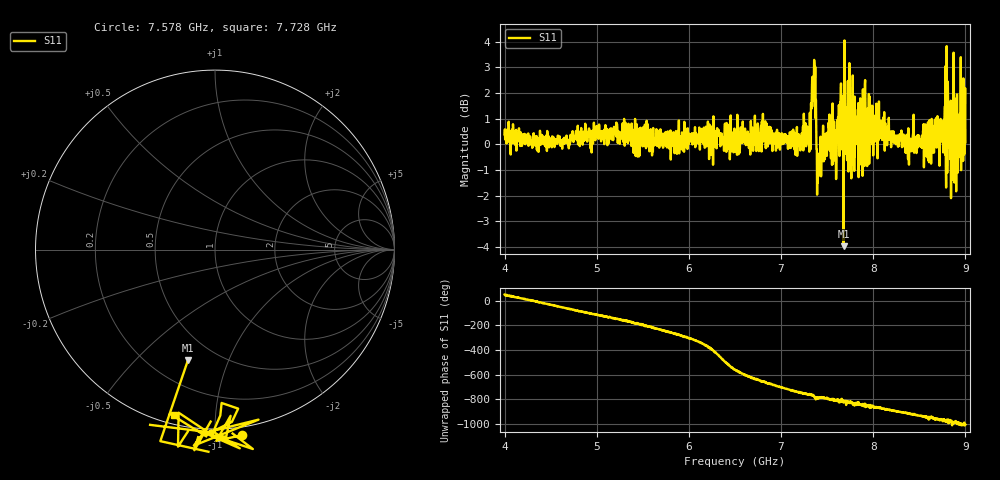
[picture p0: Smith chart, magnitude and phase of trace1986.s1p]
! Created with skrf 1.8.0 (http://scikit-rf.org).
# Hz S RI R 50.0
!freq ReS11 ImS11
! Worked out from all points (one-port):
!   1601 points, 4 GHz to 9 GHz, reference 50 ohm
!   lowest |S11| = -4.0 dB at 7.678 GHz (marker M1), VSWR 4.45, Z = 17.6 - j36.1 ohm
!   |S11| at or under -10 dB: nowhere
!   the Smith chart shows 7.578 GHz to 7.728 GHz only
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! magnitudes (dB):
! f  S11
! 4 GHz  0.4
! 4.625 GHz  -0.2
! 5.25 GHz  0.0
! 5.875 GHz  0.3
! 6.309 GHz  0.5
! 6.5 GHz  0.0
! 6.806 GHz  0.1
! 7.125 GHz  0.2
! 7.294 GHz  0.0
! 7.353 GHz  2.7
! 7.4 GHz  -0.4
! 7.412 GHz  -0.7
! 7.503 GHz  0.4
! 7.588 GHz  0.4
! 7.65 GHz  2.4
! 7.656 GHz  0.8
! 7.666 GHz  1.9
! 7.678 GHz  -4.0
! 7.75 GHz  0.6
! 7.859 GHz  1.8
! 7.891 GHz  0.8
! 8.009 GHz  0.6
! 8.375 GHz  -0.3
! 8.603 GHz  -0.1
! 8.803 GHz  -1.1
! 8.844 GHz  -2.1
! 8.972 GHz  0.8
! 9 GHz  0.1
